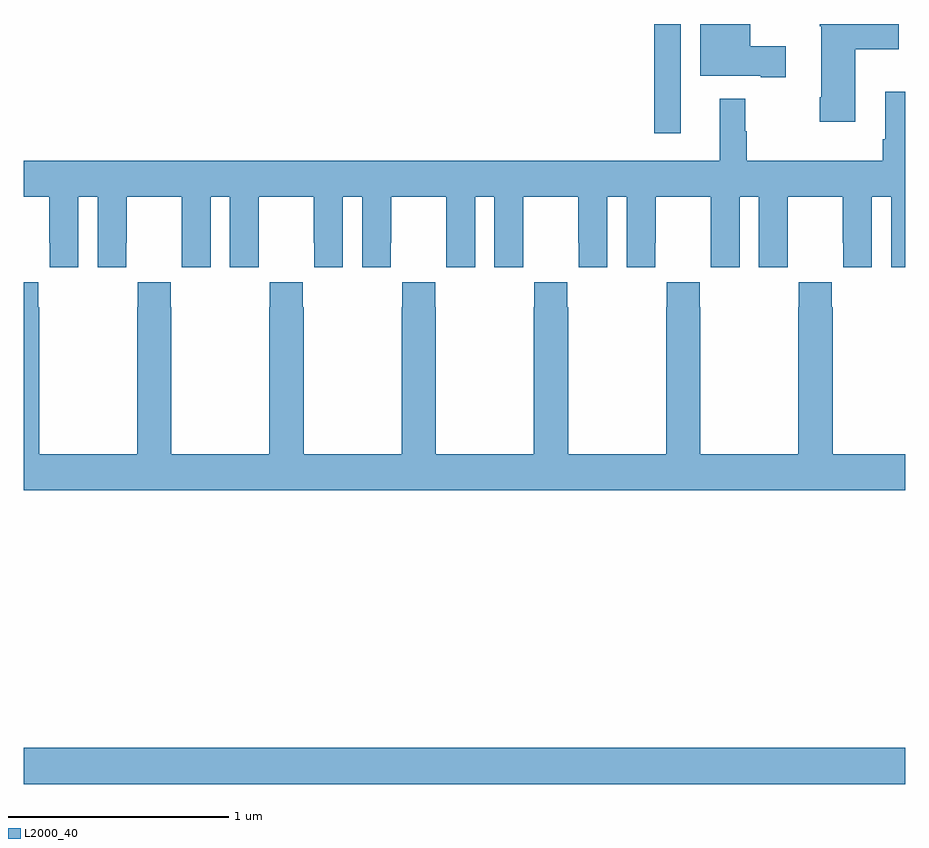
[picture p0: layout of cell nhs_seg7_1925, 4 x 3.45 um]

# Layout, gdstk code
import gdstk
lib = gdstk.Library(unit=1e-6, precision=1e-09)
def R(c, l, rs):  # rectangles x0, y0, x1, y1
    for r in rs: c.add(gdstk.rectangle(r[:2], r[2:], *l))
def P(c, l, *ps):  # polygons
    for p in ps: c.add(gdstk.Polygon(p, *l))
L2000_40 = (2000, 40)

nhs_seg7_1925 = lib.new_cell('nhs_seg7_1925')
R(nhs_seg7_1925, L2000_40, [(239,1064.552,243,1064.716), (241.86,1067.505,241.981,1068)])
P(nhs_seg7_1925, L2000_40, [(242.773,1067.885),(242.971,1067.885),(242.971,1068),(242.611,1068),(242.611,1067.989),(242.618,1067.989),(242.618,1067.668),(242.611,1067.668),(242.611,1067.556),(242.773,1067.556)],
  [(242.458,1067.9),(242.296,1067.9),(242.296,1068),(242.069,1068),(242.069,1067.765),(242.345,1067.765),(242.345,1067.758),(242.458,1067.758)],
  [(239,1067.216),(239.117,1067.216),(239.117,1067.008),(239.118,1067.008),(239.118,1066.896),(239.248,1066.896),(239.248,1067.216),(239.336,1067.216),(239.336,1066.896),(239.466,1066.896),(239.466,1067.008),(239.467,1067.008),(239.467,1067.216),(239.717,1067.216),(239.717,1067.008),(239.718,1067.008),(239.718,1066.896),(239.848,1066.896),(239.848,1067.216),(239.936,1067.216),(239.936,1066.896),(240.066,1066.896),(240.066,1067.008),(240.067,1067.008),(240.067,1067.216),(240.317,1067.216),(240.317,1067.008),(240.318,1067.008),(240.318,1066.896),(240.448,1066.896),(240.448,1067.216),(240.536,1067.216),(240.536,1066.896),(240.666,1066.896),(240.666,1067.008),(240.667,1067.008),(240.667,1067.216),(240.917,1067.216),(240.917,1067.008),(240.918,1067.008),(240.918,1066.896),(241.048,1066.896),(241.048,1067.216),(241.136,1067.216),(241.136,1066.896),(241.266,1066.896),(241.266,1067.008),(241.267,1067.008),(241.267,1067.216),(241.517,1067.216),(241.517,1067.008),(241.518,1067.008),(241.518,1066.896),(241.648,1066.896),(241.648,1067.216),(241.736,1067.216),(241.736,1066.896),(241.866,1066.896),(241.866,1067.008),(241.867,1067.008),(241.867,1067.216),(242.117,1067.216),(242.117,1067.008),(242.118,1067.008),(242.118,1066.896),(242.248,1066.896),(242.248,1067.216),(242.336,1067.216),(242.336,1066.896),(242.466,1066.896),(242.466,1067.008),(242.467,1067.008),(242.467,1067.216),(242.717,1067.216),(242.717,1067.008),(242.718,1067.008),(242.718,1066.896),(242.848,1066.896),(242.848,1067.216),(242.936,1067.216),(242.936,1066.896),(243,1066.896),(243,1067.692),(242.909,1067.692),(242.909,1067.476),(242.897,1067.476),(242.897,1067.38),(242.281,1067.38),(242.281,1067.513),(242.273,1067.513),(242.273,1067.662),(242.159,1067.662),(242.159,1067.38),(239,1067.38)],
  [(243,1066.048),(242.67,1066.048),(242.67,1066.715),(242.667,1066.715),(242.667,1066.828),(242.517,1066.828),(242.517,1066.715),(242.515,1066.715),(242.515,1066.048),(242.07,1066.048),(242.07,1066.715),(242.067,1066.715),(242.067,1066.828),(241.917,1066.828),(241.917,1066.715),(241.915,1066.715),(241.915,1066.048),(241.47,1066.048),(241.47,1066.715),(241.467,1066.715),(241.467,1066.828),(241.317,1066.828),(241.317,1066.715),(241.315,1066.715),(241.315,1066.048),(240.87,1066.048),(240.87,1066.715),(240.867,1066.715),(240.867,1066.828),(240.717,1066.828),(240.717,1066.715),(240.715,1066.715),(240.715,1066.048),(240.27,1066.048),(240.27,1066.715),(240.267,1066.715),(240.267,1066.828),(240.117,1066.828),(240.117,1066.715),(240.115,1066.715),(240.115,1066.048),(239.67,1066.048),(239.67,1066.715),(239.667,1066.715),(239.667,1066.828),(239.517,1066.828),(239.517,1066.715),(239.515,1066.715),(239.515,1066.048),(239.07,1066.048),(239.07,1066.715),(239.067,1066.715),(239.067,1066.828),(239,1066.828),(239,1065.884),(243,1065.884)])

lib.write_gds('nhs_seg7_1925.gds')
